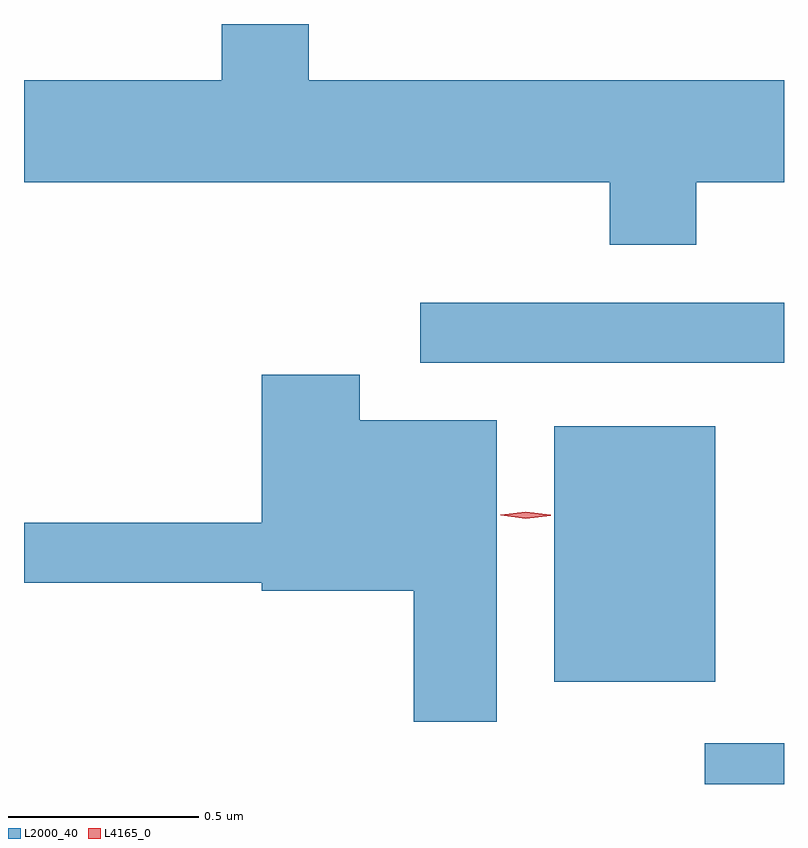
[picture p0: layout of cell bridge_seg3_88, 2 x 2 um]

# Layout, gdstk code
import gdstk
lib = gdstk.Library(unit=1e-6, precision=1e-09)
def R(c, l, rs):  # rectangles x0, y0, x1, y1
    for r in rs: c.add(gdstk.rectangle(r[:2], r[2:], *l))
def P(c, l, *ps):  # polygons
    for p in ps: c.add(gdstk.Polygon(p, *l))
L2000_40 = (2000, 40)
L4165_0 = (4165, 0)

bridge_seg3_88 = lib.new_cell('bridge_seg3_88')
R(bridge_seg3_88, L2000_40, [(1122.191,1182.152,1122.4,1182.259), (1121.796,1182.421,1122.219,1183.094), (1121.443,1183.261,1122.4,1183.419)])
P(bridge_seg3_88, L2000_40, [(1122.169,1183.736),(1122.4,1183.736),(1122.4,1184.004),(1121.149,1184.004),(1121.149,1184.152),(1120.921,1184.152),(1120.921,1184.004),(1120.4,1184.004),(1120.4,1183.736),(1121.941,1183.736),(1121.941,1183.571),(1122.169,1183.571)],
  [(1121.644,1183.109),(1121.284,1183.109),(1121.284,1183.229),(1121.026,1183.229),(1121.026,1182.839),(1120.4,1182.839),(1120.4,1182.681),(1121.026,1182.681),(1121.026,1182.661),(1121.426,1182.661),(1121.426,1182.316),(1121.644,1182.316)])
P(bridge_seg3_88, L4165_0, [(1121.72,1182.85),(1121.654,1182.859),(1121.653,1182.86),(1121.654,1182.86),(1121.72,1182.869),(1121.786,1182.86),(1121.786,1182.859),(1121.786,1182.858)])

lib.write_gds('bridge_seg3_88.gds')
